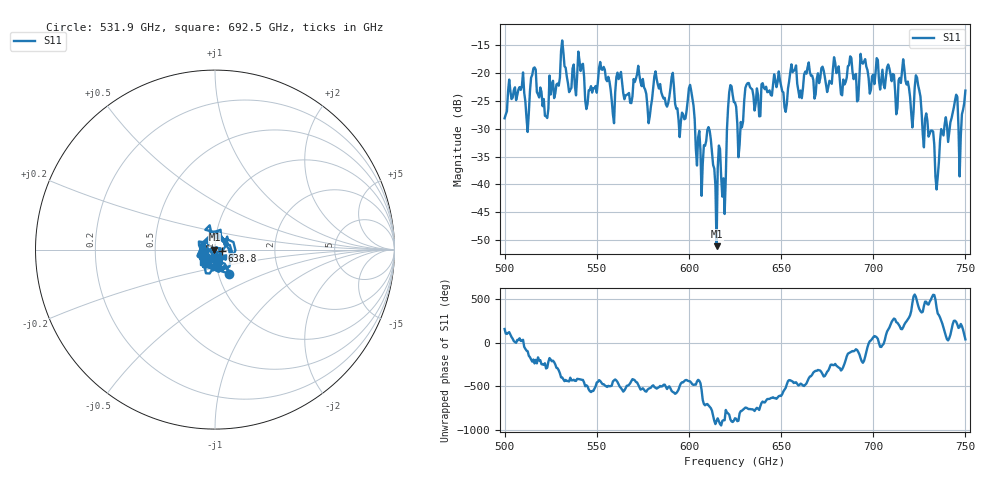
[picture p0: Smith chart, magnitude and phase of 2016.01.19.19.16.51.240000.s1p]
!Created with skrf (http://scikit-rf.org).
# GHz S RI R 50.0
!freq ReS11 ImS11
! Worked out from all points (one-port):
!   401 points, 500 GHz to 750 GHz, reference 50 ohm
!   lowest |S11| = -51.1 dB at 615 GHz (marker M1), VSWR 1.01, Z = 49.7 - j0.00324 ohm
!   |S11| at or under -10 dB: start of sweep to end of sweep
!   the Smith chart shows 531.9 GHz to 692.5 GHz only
!   S11 on the Smith chart (normalised r, x): 531.9 GHz: 1.12, -0.31; 638.8 GHz: 1.08, -0.02; 692.5 GHz: 0.87, -0.12
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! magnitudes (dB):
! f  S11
! 500 GHz  -28.1
! 508.8 GHz  -23.0
! 512.5 GHz  -30.6
! 515.6 GHz  -19.2
! 522.5 GHz  -27.8
! 531.2 GHz  -14.2
! 531.9 GHz  -16.2
! 545 GHz  -25.5
! 562.5 GHz  -20.5
! 590.6 GHz  -20.7
! 593.8 GHz  -26.4
! 601.2 GHz  -23.2
! 605.6 GHz  -30.4
! 610.6 GHz  -29.7
! 615 GHz  -51.1
! 618.8 GHz  -38.9
! 621.9 GHz  -23.4
! 625 GHz  -25.3
! 627.5 GHz  -32.9
! 631.9 GHz  -21.8
! 638.8 GHz  -27.7
! 656.2 GHz  -19.8
! 687.5 GHz  -17.0
! 692.5 GHz  -20.5
! 718.8 GHz  -21.5
! 724.4 GHz  -22.2
! 734.4 GHz  -40.9
! 750 GHz  -23.2
